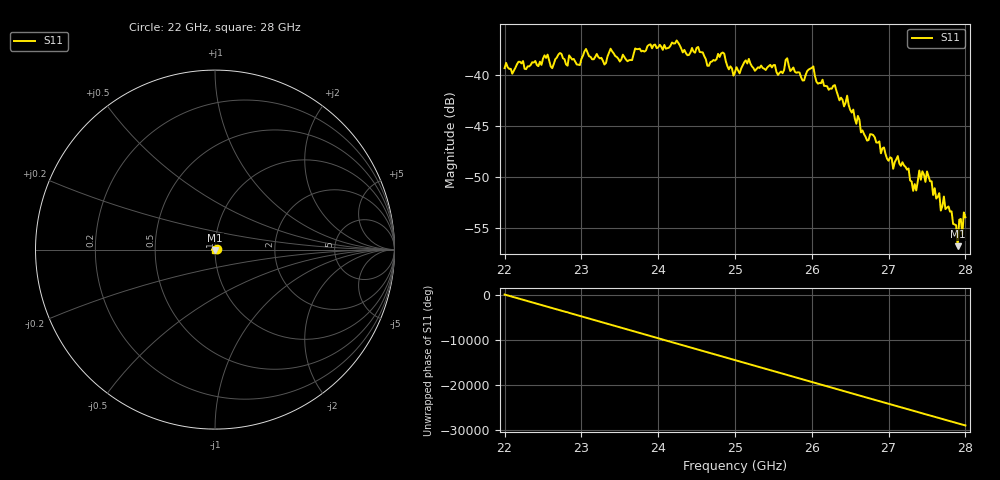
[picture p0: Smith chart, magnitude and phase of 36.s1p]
#  HZ  S  RI  R  50.00
! Rohde & Schwarz ZVA40 4Ports - Version 3.90 - 1145.1110k42 SN: 100403
! Date: 2023-10-04 07:31:23
! Measurement: S12
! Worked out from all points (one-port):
!   301 points, 22 GHz to 28 GHz, reference 50 ohm
!   lowest |S11| = -56.8 dB at 27.9 GHz (marker M1), VSWR 1.00, Z = 50 - j0.144 ohm
!   |S11| at or under -10 dB: start of sweep to end of sweep
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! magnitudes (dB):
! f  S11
! 22 GHz  -39.4
! 22.76 GHz  -38.4
! 23.3 GHz  -39.0
! 23.38 GHz  -37.5
! 23.5 GHz  -38.7
! 24.26 GHz  -36.9
! 24.64 GHz  -39.1
! 24.84 GHz  -37.8
! 25 GHz  -39.8
! 25.76 GHz  -39.3
! 25.88 GHz  -40.6
! 26.02 GHz  -39.2
! 26.5 GHz  -43.4
! 27.06 GHz  -49.2
! 27.12 GHz  -48.0
! 27.26 GHz  -49.2
! 27.32 GHz  -51.4
! 27.5 GHz  -49.5
! 27.58 GHz  -51.8
! 27.66 GHz  -51.6
! 27.68 GHz  -53.3
! 27.72 GHz  -51.9
! 27.88 GHz  -54.7
! 27.9 GHz  -56.8
! 27.92 GHz  -54.2
! 27.96 GHz  -55.7
! 27.98 GHz  -53.5
! 28 GHz  -54.0
